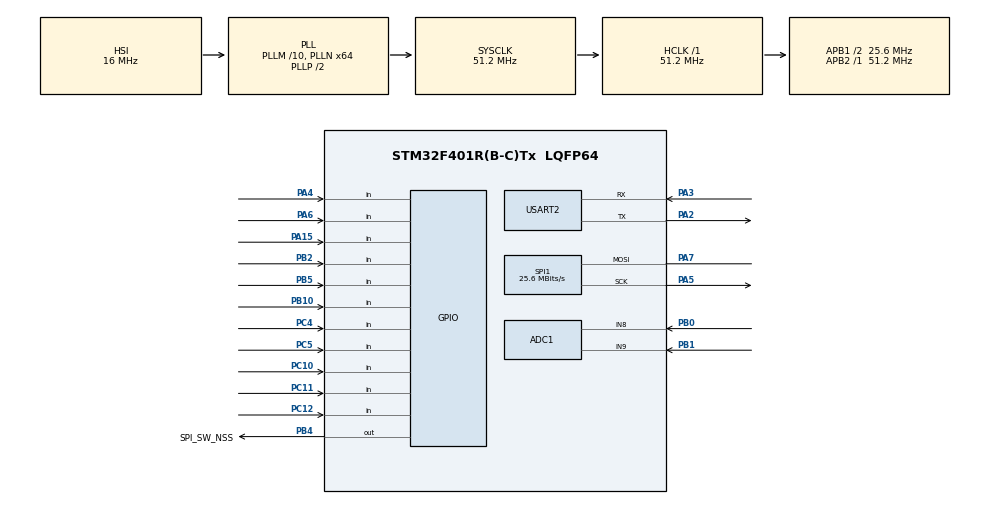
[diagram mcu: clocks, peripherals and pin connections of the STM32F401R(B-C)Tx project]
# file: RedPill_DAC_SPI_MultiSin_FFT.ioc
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ADC1.Channel-1\#ChannelRegularConversion=ADC_CHANNEL_8
ADC1.Channel-2\#ChannelRegularConversion=ADC_CHANNEL_9
ADC1.ClockPrescaler=ADC_CLOCK_SYNC_PCLK_DIV4
ADC1.ExternalTrigConv=ADC_EXTERNALTRIGCONV_T3_TRGO
ADC1.NbrOfConversion=2
ADC1.NbrOfConversionFlag=1
ADC1.Rank-1\#ChannelRegularConversion=1
ADC1.Rank-2\#ChannelRegularConversion=2
ADC1.SamplingTime-1\#ChannelRegularConversion=ADC_SAMPLETIME_15CYCLES
ADC1.SamplingTime-2\#ChannelRegularConversion=ADC_SAMPLETIME_15CYCLES
ADC1.ScanConvMode=ENABLE
ADC1.master=1
Dma.ADC1.0.Direction=DMA_PERIPH_TO_MEMORY
Dma.ADC1.0.FIFOMode=DMA_FIFOMODE_DISABLE
Dma.ADC1.0.Instance=DMA2_Stream4
Dma.ADC1.0.MemDataAlignment=DMA_MDATAALIGN_WORD
Dma.ADC1.0.MemInc=DMA_MINC_ENABLE
Dma.ADC1.0.Mode=DMA_CIRCULAR
Dma.ADC1.0.PeriphDataAlignment=DMA_PDATAALIGN_WORD
Dma.ADC1.0.PeriphInc=DMA_PINC_DISABLE
Dma.ADC1.0.Priority=DMA_PRIORITY_HIGH
Dma.Request0=ADC1
Mcu.Family=STM32F4
Mcu.Name=STM32F401R(B-C)Tx
Mcu.Package=LQFP64
NVIC.ADC_IRQn=true\:2\:0\:true\:false\:true\:true\:true\:true
NVIC.DMA2_Stream4_IRQn=true\:2\:0\:true\:false\:true\:false\:true\:true
NVIC.PriorityGroup=NVIC_PRIORITYGROUP_4
NVIC.SPI1_IRQn=true\:3\:0\:true\:false\:true\:true\:true\:true
NVIC.TIM2_IRQn=true\:4\:0\:true\:false\:true\:true\:true\:true
PA13.Mode=Serial_Wire
PA13.Signal=SYS_JTMS-SWDIO
PA14.Mode=Serial_Wire
PA14.Signal=SYS_JTCK-SWCLK
PA15.GPIO_PuPd=GPIO_NOPULL
PA15.Signal=GPIO_Input
PA2.Mode=Asynchronous
PA2.Signal=USART2_TX
PA3.Mode=Asynchronous
PA3.Signal=USART2_RX
PA4.Signal=GPIO_Input
PA5.Mode=Simplex_Bidirectional_Master
PA5.Signal=SPI1_SCK
PA6.Signal=GPIO_Input
PA7.Mode=Simplex_Bidirectional_Master
PA7.Signal=SPI1_MOSI
PB0.Signal=ADCx_IN8
PB1.Signal=ADCx_IN9
PB10.Signal=GPIO_Input
PB2.Signal=GPIO_Input
PB4.GPIO_Label=SPI_SW_NSS
PB4.GPIO_Speed=GPIO_SPEED_FREQ_LOW
PB4.Signal=GPIO_Output
PB5.Signal=GPIO_Input
PC10.GPIO_PuPd=GPIO_NOPULL
PC10.Signal=GPIO_Input
PC11.Signal=GPIO_Input
PC12.Signal=GPIO_Input
PC4.Signal=GPIO_Input
PC5.Signal=GPIO_Input
PH0\ -\ OSC_IN.Mode=HSE-External-Oscillator
PH0\ -\ OSC_IN.Signal=RCC_OSC_IN
PH1\ -\ OSC_OUT.Mode=HSE-External-Oscillator
PH1\ -\ OSC_OUT.Signal=RCC_OSC_OUT
ProjectManager.HeapSize=0x200
ProjectManager.StackSize=0x400
ProjectManager.TargetToolchain=EWARM V8.50
RCC.48MHZClocksFreq_Value=25600000
RCC.AHBFreq_Value=51200000
RCC.APB1CLKDivider=RCC_HCLK_DIV2
RCC.APB1Freq_Value=25600000
RCC.APB1TimFreq_Value=51200000
RCC.APB2Freq_Value=51200000
RCC.APB2TimFreq_Value=51200000
RCC.CortexFreq_Value=51200000
RCC.HCLKFreq_Value=51200000
RCC.HSE_VALUE=16000000
RCC.HSI_VALUE=16000000
RCC.LSE_VALUE=32768
RCC.PLLM=10
RCC.PLLN=64
RCC.SYSCLKFreq_VALUE=51200000
RCC.SYSCLKSource=RCC_SYSCLKSOURCE_PLLCLK
RCC.VCOOutputFreq_Value=102400000
SH.ADCx_IN8.0=ADC1_IN8,IN8
SH.ADCx_IN9.0=ADC1_IN9,IN9
SPI1.BaudRatePrescaler=SPI_BAUDRATEPRESCALER_2
SPI1.CLKPolarity=SPI_POLARITY_HIGH
SPI1.CalculateBaudRate=25.6 MBits/s
SPI1.DataSize=SPI_DATASIZE_8BIT
SPI1.Direction=SPI_DIRECTION_1LINE
SPI1.Mode=SPI_MODE_MASTER
SPI1.TIMode=SPI_TIMODE_DISABLE
SPI1.VirtualType=VM_MASTER
STMicroelectronics.X-CUBE-ALGOBUILD.1.3.0.LibraryCcDSPOoLibraryJjDSPOoLibrary=true
TIM2.Period=39
TIM2.Prescaler=83
TIM3.ClockDivision=TIM_CLOCKDIVISION_DIV1
TIM3.Period=999
TIM3.Prescaler=83
TIM3.TIM_MasterOutputTrigger=TIM_TRGO_UPDATE
USART2.VirtualMode=VM_ASYNC
VP_STMicroelectronics.X-CUBE-ALGOBUILD_VS_DSPOoLibraryJjLibrary_1.3.0_1.3.0.Mode=DSPOoLibraryJjLibrary
VP_TIM2_VS_ClockSourceINT.Mode=Internal
VP_TIM3_VS_ClockSourceINT.Mode=Internal
board=custom

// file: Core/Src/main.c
/* USER CODE BEGIN Header */
/**
  ******************************************************************************
  * @file           : main.c
  * @brief          : Main program body
  ******************************************************************************
  * @attention
  *
  * Copyright (c) 2024 STMicroelectronics.
  * All rights reserved.
  *
  * This software is licensed under terms that can be found in the LICENSE file
  * in the root directory of this software component.
  * If no LICENSE file comes with this software, it is provided AS-IS.
  *
  ******************************************************************************
  */
/* USER CODE END Header */
#include "main.h"

/* USER CODE BEGIN Includes */
#include "stdio.h"
#include "arm_math.h"
/* USER CODE END Includes */

/* USER CODE BEGIN PTD */

typedef struct
{
    GPIO_TypeDef* DacCsPort;
	uint16_t DacCsPin;
	SPI_HandleTypeDef *spi_port;
	uint32_t spi_clock_speed;
} DAC_Handle;

/* USER CODE END PTD */

/* USER CODE BEGIN PD */

/* ADC Defines */
#define VREF            (3.3f)
#define ADC_MAX_RESULT  ((1 << 12)) // 10 bit ADC
#define MCU_CLOCK       (51200000U)

/* FFT Defines */
#define FFT_BUFFER_SIZE             (1024U)  /* This is the max power of 2, to fit in the RAM. The used array can be reduced. */
#define FREQ_COMPONENTS_THRESHOLD   (0.05f)
#define MAX_FREQ_PEAKS              (19U)

/* DAC register defines begin */
#define REG4_DIVGAIN  ((uint8_t)0x04)
#define REG5_RESET    ((uint8_t)0x05)
#define REG8_DAC      ((uint8_t)0x08)
#define REG3_CON      ((uint8_t)0x03)
#define REG2_SYNC     ((uint8_t)0x02)

#define SET5_RESET_1  ((uint8_t)0x0A)
#define SET5_RESET_2  ((uint8_t)0x00)

#define SET3_CON_1    ((uint8_t)0x00)
#define SET3_CON_2    ((uint8_t)0x01)

#define SET2_SYNC_1   ((uint8_t)0x00)
#define SET2_SYNC_2   ((uint8_t)0x00)

#define SET4_GAIN1    ((uint8_t)0x00)
#define SET4_GAIN2    ((uint8_t)0x01)
#define SET4_DIV1     ((uint8_t)0x00)
#define SET4_DIV2     ((uint8_t)0x01)
/* DAC register defines end */

/* DAC config defines begin */
#define NUM_OF_SAMPLES_DAC ((uint16_t)1024)
#define SPI_TIMEOUT        (10u)
/* DAC config defines end */

/* USER CODE END PD */

ADC_HandleTypeDef hadc1;
DMA_HandleTypeDef hdma_adc1;

SPI_HandleTypeDef hspi1;

TIM_HandleTypeDef htim2;
TIM_HandleTypeDef htim3;

UART_HandleTypeDef huart2;

/* USER CODE BEGIN PV */

/* DAC variables */
DAC_Handle dacHandle;

/* Defs to variables, Configuring DAC */
uint8_t dacResetRegData[3] = {REG5_RESET,SET5_RESET_2,SET5_RESET_1}; // Fix
uint8_t dacDivGainRegData[3] = {REG4_DIVGAIN,SET4_DIV2,SET4_GAIN2}; // Can be set
uint8_t dacConfigRefRegData[3] = {REG3_CON,SET3_CON_2,SET3_CON_1}; // Fix
uint8_t dacSyncRegData[3] = {REG2_SYNC,SET2_SYNC_2,SET2_SYNC_1}; // Fix
/* DAC config variables end */

/* Data to send - Multisine: sum(Vi*sin(2pi*f0*i*t)) */
uint8_t sinBuffer[2*NUM_OF_SAMPLES_DAC] = {
#include "dacMultiSine.txt"
};
volatile uint8_t sinBufferTemp[3] = {REG8_DAC,0x00,0x00};
volatile uint16_t sinCounter = 0;
volatile uint8_t sinDataCounter = 0;
/* Signal generation variables end */

/* Measurement variables begin */

// ADC variables
uint8_t ADC_FLAG_STATE_FSM = 0;

// FFT variables
arm_rfft_fast_instance_f32 fftHandler;
uint32_t fftBuffIn[FFT_BUFFER_SIZE*2];
float32_t fftBuffInVoltsSig[FFT_BUFFER_SIZE];
float32_t fftBuffInVoltsRef[FFT_BUFFER_SIZE];
float32_t fftBuffInVoltsImp[FFT_BUFFER_SIZE];
float32_t fftBuffOutRef[FFT_BUFFER_SIZE];
float32_t fftBuffOutImp[FFT_BUFFER_SIZE];
float32_t fftBuffOutSig[FFT_BUFFER_SIZE];
float32_t fftBuffOutZpN[FFT_BUFFER_SIZE];
float32_t fftBuffAbsRef[FFT_BUFFER_SIZE/2];
float32_t fftBuffAbsImp[FFT_BUFFER_SIZE/2];
float32_t fftBuffAbsSig[FFT_BUFFER_SIZE/2];
float32_t fftBuffAbsZpN[FFT_BUFFER_SIZE/2];

uint16_t freqIndex = 0;

/* Collecting the peaks in an array */
uint16_t freqPeakIndeces[MAX_FREQ_PEAKS] = {0x00,0x00,0x00,0x00,0x00};
float32_t freqPeaks[MAX_FREQ_PEAKS] = {0.0f,0.0f,0.0f,0.0f,0.0f};

uint32_t SAMPLING_FREQ = 0; // --> Should be set properly, according to the CubeMX settings!!!

/* Measurement variables end */

/* Config variables begin */
uint8_t send_serial = 1; // send on serial or not
volatile uint8_t  send_data = 0;
uint16_t data_ind = 0; // instead of i in main for loop, to live watch
/* Config variables end */

/* USER CODE END PV */

void SystemClock_Config(void);
static void MX_GPIO_Init(void);
static void MX_DMA_Init(void);
static void MX_SPI1_Init(void);
static void MX_ADC1_Init(void);
static void MX_TIM3_Init(void);
static void MX_TIM2_Init(void);
static void MX_USART2_UART_Init(void);
/* USER CODE BEGIN PFP */

void dacBegin(DAC_Handle *dac, SPI_HandleTypeDef *port, GPIO_TypeDef* cs_port, uint16_t cs_pin, uint32_t cspeed);
void writeREG(DAC_Handle *dac, uint8_t *command);
void writeDAC(DAC_Handle *dac, uint8_t *data);
void setClockSpeed(DAC_Handle *dac, uint32_t cspeed);

/* USER CODE END PFP */

/* USER CODE BEGIN 0 */

/* Redirect printf to UASRT2, redefine __write */
size_t __write_own(int handle, const unsigned char * buffer, size_t size)
{
  size_t nChars = 0;

  if (buffer == 0)
  {
    /*
     * This means that we should flush internal buffers.  Since we
     * don't we just return.  (Remember, "handle" == -1 means that all
     * handles should be flushed.)
     */
    return 0;
  }

  for (/* Empty */; size != 0; --size)
  {
    HAL_UART_Transmit(&huart2, (uint8_t*) (buffer), 1, HAL_MAX_DELAY);
    buffer++;
    ++nChars;
  }

  return nChars;

}

/* DAC handling functions begin*/
void dacBegin(DAC_Handle *dac, SPI_HandleTypeDef *port, GPIO_TypeDef* cs_port, uint16_t cs_pin, uint32_t cspeed)
{
  dac->DacCsPort = cs_port;
  dac->DacCsPin = cs_pin;
  dac->spi_port = port;
  dac->spi_clock_speed = cspeed;
}

void setClockSpeed(DAC_Handle *dac, uint32_t cspeed)
{
	dac->spi_clock_speed = cspeed;
}

void writeREG(DAC_Handle *dac, uint8_t* command)
{
	HAL_GPIO_WritePin(dac->DacCsPort, dac->DacCsPin, GPIO_PIN_SET); //SW NSS
        HAL_Delay(1);
  	HAL_GPIO_WritePin(dac->DacCsPort, dac->DacCsPin, GPIO_PIN_RESET); //SW NSS
  	while(HAL_SPI_GetState(dac->spi_port) != HAL_SPI_STATE_READY){}
  	HAL_SPI_Transmit(dac->spi_port, (uint8_t*) (command), 3, SPI_TIMEOUT);
        HAL_Delay(1);
  	HAL_GPIO_WritePin(dac->DacCsPort, dac->DacCsPin, GPIO_PIN_SET); //SW NSS
}

void writeDAC(DAC_Handle *dac, uint8_t* data)
{
	while(HAL_SPI_GetState(dac->spi_port) != HAL_SPI_STATE_READY){}
        HAL_GPIO_WritePin(dac->DacCsPort, dac->DacCsPin, GPIO_PIN_RESET); //SW NSS
        HAL_SPI_Transmit(dac->spi_port, (uint8_t*) (data), 3, SPI_TIMEOUT);
        HAL_GPIO_WritePin(dac->DacCsPort, dac->DacCsPin, GPIO_PIN_SET); //SW NSS

}
/* DAC handling functions end*/

/* ADC conversion to Volts */
float32_t ADC_convertSampleToVolts(uint16_t sample) {
	// The measured voltage applied to P1.7 is given by:
	//
	//                           Vref (mV)
	//   measurement (mV) =   --------------- * result (bits)
	//                       (2^12) (bits)
	return ((float32_t) sample * VREF) / ADC_MAX_RESULT;
}

/* USER CODE END 0 */

int main(void)
{

  /* MCU Configuration--------------------------------------------------------*/

  /* Reset of all peripherals, Initializes the Flash interface and the Systick. */
  HAL_Init();

  /* Configure the system clock */
  SystemClock_Config();

  /* Initialize all configured peripherals */
  MX_GPIO_Init();
  MX_DMA_Init();
  MX_SPI1_Init();
  MX_ADC1_Init();
  MX_TIM3_Init();
  MX_TIM2_Init();
  MX_USART2_UART_Init();
  /* USER CODE BEGIN 2 */

  /* Calculate the sampling freq from registers and oscillator freq */
  SAMPLING_FREQ = ((uint32_t)MCU_CLOCK)/((htim3.Init.Prescaler+1)*(htim3.Init.Period+1)); // 1 kHz sampling freq is too high for this settings

  /* Initializing DAC */
  dacBegin(&dacHandle, &hspi1, SPI_SW_NSS_GPIO_Port, SPI_SW_NSS_Pin,(uint32_t)500000); // 16 Mhz Oscillator - 8 Mhz CLK - 16 SPI prescaler = 500 kHz

  // setREG5_Reset, Soft Reset
  writeREG(&dacHandle, (uint8_t*)(&dacResetRegData));
  HAL_Delay(100);

  // setREG4_DivGain, DIV = 2, GAIN = 2
  writeREG(&dacHandle, (uint8_t*)(&dacDivGainRegData));
  HAL_Delay(100);

  // setREG3_Internal_Ref_Off
  writeREG(&dacHandle, (uint8_t*)(&dacConfigRefRegData));
  HAL_Delay(100);

  // setREG2_SyncMode_Off
  writeREG(&dacHandle, (uint8_t*)(&dacSyncRegData));
  HAL_Delay(100);

  /* Start TIM2(for DAC sine) and TIM3(for ADC), init FFT vector and start DMA for FFT */
  arm_rfft_fast_init_f32(&fftHandler, FFT_BUFFER_SIZE);
  send_data = 1;

  HAL_TIM_Base_Init(&htim3);
  HAL_TIM_Base_Start(&htim3);
  HAL_ADC_Start_DMA(&hadc1, fftBuffIn, FFT_BUFFER_SIZE*2); // Start DMA for FFT
  /* ADC with DMA must be init and started before TIM2 IT-s, because they interrupt the init method!!!! */
  HAL_TIM_Base_Init(&htim2);
  HAL_TIM_Base_Start_IT(&htim2);

  /* USER CODE END 2 */

  /* Infinite loop */
  while (1)
  {

    /* USER CODE BEGIN 3 */

	/* Processing signals */
	if (ADC_FLAG_STATE_FSM == 1) {
		// Reset state machine
		ADC_FLAG_STATE_FSM = 0;

		/* ADC_IN8 (Rank 1 - 1. in the array) - input signal, ADC_IN9 (Rank 2 - 2. in the array) - Rn signal */

		// Calculate FFT
		for (int i = 0; i < FFT_BUFFER_SIZE; i++) {
			fftBuffInVoltsSig[i] = ADC_convertSampleToVolts((uint16_t) (fftBuffIn[2 * i])); // Rn signal
			fftBuffInVoltsRef[i] = ADC_convertSampleToVolts((uint16_t) (fftBuffIn[2 * i + 1])); // Input signal
			fftBuffInVoltsImp[i] = ADC_convertSampleToVolts((uint16_t) (fftBuffIn[2 * i]-fftBuffIn[2 * i + 1])); // Impedance signal
		}

		/* FFT */
		freqIndex = 0;
		arm_rfft_fast_f32(&fftHandler, fftBuffInVoltsRef, fftBuffOutRef, 0);
		arm_rfft_fast_f32(&fftHandler, fftBuffInVoltsImp, fftBuffOutImp, 0);
		arm_rfft_fast_f32(&fftHandler, fftBuffInVoltsSig, fftBuffOutSig, 0);

		/* Calculating spectres first component */
		for (uint16_t i = 0; i < FFT_BUFFER_SIZE-2; i+=2){

			fftBuffAbsSig[freqIndex] = (float32_t)(sqrt((double)(fftBuffOutSig[i]*fftBuffOutSig[i])+(double)(fftBuffOutSig[i+1]*fftBuffOutSig[i+1]))/FFT_BUFFER_SIZE*2); // Calculating the amplitude characteristics
			fftBuffAbsRef[freqIndex] = (float32_t)(sqrt((double)(fftBuffOutRef[i]*fftBuffOutRef[i])+(double)(fftBuffOutRef[i+1]*fftBuffOutRef[i+1]))/FFT_BUFFER_SIZE*2); // Calculating the amplitude characteristics
			fftBuffAbsImp[freqIndex] = (float32_t)(sqrt((double)(fftBuffOutImp[i]*fftBuffOutImp[i])+(double)(fftBuffOutImp[i+1]*fftBuffOutImp[i+1]))/FFT_BUFFER_SIZE*2); // Calculating the amplitude characteristics
			fftBuffOutZpN[i] = ((fftBuffOutImp[i]*fftBuffOutRef[i])+(fftBuffOutImp[i+1]*fftBuffOutRef[i+1]))/((fftBuffOutRef[i]*fftBuffOutRef[i])+(fftBuffOutRef[i+1]*fftBuffOutRef[i+1]));
			fftBuffOutZpN[i+1] = ((fftBuffOutRef[i]*fftBuffOutImp[i+1])-(fftBuffOutImp[i]*fftBuffOutRef[i+1]))/((fftBuffOutRef[i]*fftBuffOutRef[i])+(fftBuffOutRef[i+1]*fftBuffOutRef[i+1]));
			fftBuffAbsZpN[freqIndex] = (float32_t)(sqrt((double)(fftBuffOutZpN[i]*fftBuffOutZpN[i])+(double)(fftBuffOutZpN[i+1]*fftBuffOutZpN[i+1]))/FFT_BUFFER_SIZE*2);

			freqIndex++;
		}
		fftBuffAbsRef[0] = fftBuffAbsRef[0]/2; // For the single sided FFT, but we do not need it.
		fftBuffAbsImp[0] = fftBuffAbsImp[0]/2;
		fftBuffAbsSig[0] = fftBuffAbsSig[0]/2;
                fftBuffAbsZpN[0] = fftBuffAbsZpN[0]/2;

                /*
                // Printing out the absolute spectres
		for (uint16_t i = 0; i < FFT_BUFFER_SIZE/2; i++){
			printf("%.5f,%.5f,%.5f,%.5f\r\n",fftBuffAbsSig[i],fftBuffAbsImp[i],fftBuffAbsRef[i],fftBuffAbsZpN[i]);
		}

                // Printing out the complex spectres
		for (uint16_t i = 0; i < FFT_BUFFER_SIZE-2; i+=2){
			printf("%.5f,%.5f,%.5f,%.5f,%.5f,%.5f,%.5f,%.5f\r\n",fftBuffOutSig[i],fftBuffOutSig[i+1],fftBuffOutImp[i],fftBuffOutImp[i+1],fftBuffOutRef[i],fftBuffOutRef[i+1],fftBuffOutZpN[i],fftBuffOutZpN[i+1]);
		}
                */

                for (int i = 0; i < MAX_FREQ_PEAKS; i++) {
                    freqPeaks[i] = 0.0f;
                    freqPeakIndeces[i] = 0xFFFF;
                }

                // Iterate through the original array
                for (int i = 1; i < FFT_BUFFER_SIZE/2; i++) {
                    // Check if the current element is larger than the smallest in the largest array
                    for (int j = 0; j < MAX_FREQ_PEAKS; j++) {
                        if (fftBuffAbsSig[i] > freqPeaks[j]) {
                            // Shift the rest of the array and the indices array
                            for (int k = MAX_FREQ_PEAKS - 1; k > j; k--) {
                                freqPeaks[k] = freqPeaks[k - 1];
                                freqPeakIndeces[k] = freqPeakIndeces[k - 1];
                            }
                            // Insert the new element and its index
                            freqPeaks[j] = fftBuffAbsSig[i];
                            freqPeakIndeces[j] = i;
                            break;
                        }
                    }
                }

                // Printing out the complex spectres
		for (uint16_t i = 0; i < FFT_BUFFER_SIZE-2; i+=2){
			printf("%.5f,%.5f,%.5f,%.5f,%.5f,%.5f,%.5f,%.5f\r\n",fftBuffOutSig[i],fftBuffOutSig[i+1],fftBuffOutImp[i],fftBuffOutImp[i+1],fftBuffOutRef[i],fftBuffOutRef[i+1],fftBuffOutZpN[i],fftBuffOutZpN[i+1]);
		}

                /* Printing out the impeadance value at the peak indeces  */
                for (uint8_t i = 0; i < MAX_FREQ_PEAKS; i++){
			printf("%d,%.5f,%.5f,%.5f\r\n",freqPeakIndeces[i],fftBuffOutZpN[2*freqPeakIndeces[i]],fftBuffOutZpN[2*freqPeakIndeces[i]+1],fftBuffAbsZpN[freqPeakIndeces[i]]);
		}

		HAL_ADC_Start_DMA(&hadc1, fftBuffIn, FFT_BUFFER_SIZE*2); // Start DMA for FFT
		__enable_irq();

	}

  }
  /* USER CODE END 3 */
}

void SystemClock_Config(void)
{
  RCC_OscInitTypeDef RCC_OscInitStruct = {0};
  RCC_ClkInitTypeDef RCC_ClkInitStruct = {0};

  /** Configure the main internal regulator output voltage
  */
  __HAL_RCC_PWR_CLK_ENABLE();
  __HAL_PWR_VOLTAGESCALING_CONFIG(PWR_REGULATOR_VOLTAGE_SCALE2);

  /** Initializes the RCC Oscillators according to the specified parameters
  * in the RCC_OscInitTypeDef structure.
  */
  RCC_OscInitStruct.OscillatorType = RCC_OSCILLATORTYPE_HSI;
  RCC_OscInitStruct.HSIState = RCC_HSI_ON;
  RCC_OscInitStruct.HSICalibrationValue = RCC_HSICALIBRATION_DEFAULT;
  RCC_OscInitStruct.PLL.PLLState = RCC_PLL_ON;
  RCC_OscInitStruct.PLL.PLLSource = RCC_PLLSOURCE_HSI;
  RCC_OscInitStruct.PLL.PLLM = 10;
  RCC_OscInitStruct.PLL.PLLN = 64;
  RCC_OscInitStruct.PLL.PLLP = RCC_PLLP_DIV2;
  RCC_OscInitStruct.PLL.PLLQ = 4;
  if (HAL_RCC_OscConfig(&RCC_OscInitStruct) != HAL_OK)
  {
    Error_Handler();
  }

  /** Initializes the CPU, AHB and APB buses clocks
  */
  RCC_ClkInitStruct.ClockType = RCC_CLOCKTYPE_HCLK|RCC_CLOCKTYPE_SYSCLK
                              |RCC_CLOCKTYPE_PCLK1|RCC_CLOCKTYPE_PCLK2;
  RCC_ClkInitStruct.SYSCLKSource = RCC_SYSCLKSOURCE_PLLCLK;
  RCC_ClkInitStruct.AHBCLKDivider = RCC_SYSCLK_DIV1;
  RCC_ClkInitStruct.APB1CLKDivider = RCC_HCLK_DIV2;
  RCC_ClkInitStruct.APB2CLKDivider = RCC_HCLK_DIV1;

  if (HAL_RCC_ClockConfig(&RCC_ClkInitStruct, FLASH_LATENCY_1) != HAL_OK)
  {
    Error_Handler();
  }
}

static void MX_ADC1_Init(void)
{

  ADC_ChannelConfTypeDef sConfig = {0};

  /** Configure the global features of the ADC (Clock, Resolution, Data Alignment and number of conversion)
  */
  hadc1.Instance = ADC1;
  hadc1.Init.ClockPrescaler = ADC_CLOCK_SYNC_PCLK_DIV4;
  hadc1.Init.Resolution = ADC_RESOLUTION_12B;
  hadc1.Init.ScanConvMode = ENABLE;
  hadc1.Init.ContinuousConvMode = DISABLE;
  hadc1.Init.DiscontinuousConvMode = DISABLE;
  hadc1.Init.ExternalTrigConvEdge = ADC_EXTERNALTRIGCONVEDGE_RISING;
  hadc1.Init.ExternalTrigConv = ADC_EXTERNALTRIGCONV_T3_TRGO;
  hadc1.Init.DataAlign = ADC_DATAALIGN_RIGHT;
  hadc1.Init.NbrOfConversion = 2;
  hadc1.Init.DMAContinuousRequests = DISABLE;
  hadc1.Init.EOCSelection = ADC_EOC_SINGLE_CONV;
  if (HAL_ADC_Init(&hadc1) != HAL_OK)
  {
    Error_Handler();
  }

  /** Configure for the selected ADC regular channel its corresponding rank in the sequencer and its sample time.
  */
  sConfig.Channel = ADC_CHANNEL_8;
  sConfig.Rank = 1;
  sConfig.SamplingTime = ADC_SAMPLETIME_15CYCLES;
  if (HAL_ADC_ConfigChannel(&hadc1, &sConfig) != HAL_OK)
  {
    Error_Handler();
  }

  /** Configure for the selected ADC regular channel its corresponding rank in the sequencer and its sample time.
  */
  sConfig.Channel = ADC_CHANNEL_9;
  sConfig.Rank = 2;
  if (HAL_ADC_ConfigChannel(&hadc1, &sConfig) != HAL_OK)
  {
    Error_Handler();
  }

}

static void MX_SPI1_Init(void)
{

  /* SPI1 parameter configuration*/
  hspi1.Instance = SPI1;
  hspi1.Init.Mode = SPI_MODE_MASTER;
  hspi1.Init.Direction = SPI_DIRECTION_1LINE;
  hspi1.Init.DataSize = SPI_DATASIZE_8BIT;
  hspi1.Init.CLKPolarity = SPI_POLARITY_HIGH;
  hspi1.Init.CLKPhase = SPI_PHASE_1EDGE;
  hspi1.Init.NSS = SPI_NSS_SOFT;
  hspi1.Init.BaudRatePrescaler = SPI_BAUDRATEPRESCALER_2;
  hspi1.Init.FirstBit = SPI_FIRSTBIT_MSB;
  hspi1.Init.TIMode = SPI_TIMODE_DISABLE;
  hspi1.Init.CRCCalculation = SPI_CRCCALCULATION_DISABLE;
  hspi1.Init.CRCPolynomial = 10;
  if (HAL_SPI_Init(&hspi1) != HAL_OK)
  {
    Error_Handler();
  }

}

static void MX_TIM2_Init(void)
{

  TIM_ClockConfigTypeDef sClockSourceConfig = {0};
  TIM_MasterConfigTypeDef sMasterConfig = {0};

  htim2.Instance = TIM2;
  htim2.Init.Prescaler = 499;
  htim2.Init.CounterMode = TIM_COUNTERMODE_UP;
  htim2.Init.Period = 99;
  htim2.Init.ClockDivision = TIM_CLOCKDIVISION_DIV1;
  htim2.Init.AutoReloadPreload = TIM_AUTORELOAD_PRELOAD_DISABLE;
  if (HAL_TIM_Base_Init(&htim2) != HAL_OK)
  {
    Error_Handler();
  }
  sClockSourceConfig.ClockSource = TIM_CLOCKSOURCE_INTERNAL;
  if (HAL_TIM_ConfigClockSource(&htim2, &sClockSourceConfig) != HAL_OK)
  {
    Error_Handler();
  }
  sMasterConfig.MasterOutputTrigger = TIM_TRGO_RESET;
  sMasterConfig.MasterSlaveMode = TIM_MASTERSLAVEMODE_DISABLE;
  if (HAL_TIMEx_MasterConfigSynchronization(&htim2, &sMasterConfig) != HAL_OK)
  {
    Error_Handler();
  }

}

static void MX_TIM3_Init(void)
{

  TIM_ClockConfigTypeDef sClockSourceConfig = {0};
  TIM_MasterConfigTypeDef sMasterConfig = {0};

  htim3.Instance = TIM3;
  htim3.Init.Prescaler = 499;
  htim3.Init.CounterMode = TIM_COUNTERMODE_UP;
  htim3.Init.Period = 49;
  htim3.Init.ClockDivision = TIM_CLOCKDIVISION_DIV1;
  htim3.Init.AutoReloadPreload = TIM_AUTORELOAD_PRELOAD_DISABLE;
  if (HAL_TIM_Base_Init(&htim3) != HAL_OK)
  {
    Error_Handler();
  }
  sClockSourceConfig.ClockSource = TIM_CLOCKSOURCE_INTERNAL;
  if (HAL_TIM_ConfigClockSource(&htim3, &sClockSourceConfig) != HAL_OK)
  {
    Error_Handler();
  }
  sMasterConfig.MasterOutputTrigger = TIM_TRGO_UPDATE;
  sMasterConfig.MasterSlaveMode = TIM_MASTERSLAVEMODE_DISABLE;
  if (HAL_TIMEx_MasterConfigSynchronization(&htim3, &sMasterConfig) != HAL_OK)
  {
    Error_Handler();
  }

}

static void MX_USART2_UART_Init(void)
{

  huart2.Instance = USART2;
  huart2.Init.BaudRate = 115200;
  huart2.Init.WordLength = UART_WORDLENGTH_8B;
  huart2.Init.StopBits = UART_STOPBITS_1;
  huart2.Init.Parity = UART_PARITY_NONE;
  huart2.Init.Mode = UART_MODE_TX_RX;
  huart2.Init.HwFlowCtl = UART_HWCONTROL_NONE;
  huart2.Init.OverSampling = UART_OVERSAMPLING_16;
  if (HAL_UART_Init(&huart2) != HAL_OK)
  {
    Error_Handler();
  }

}

static void MX_DMA_Init(void)
{

  /* DMA controller clock enable */
  __HAL_RCC_DMA2_CLK_ENABLE();

  /* DMA interrupt init */
  /* DMA2_Stream4_IRQn interrupt configuration */
  HAL_NVIC_SetPriority(DMA2_Stream4_IRQn, 2, 0);
  HAL_NVIC_EnableIRQ(DMA2_Stream4_IRQn);

}

static void MX_GPIO_Init(void)
{
  GPIO_InitTypeDef GPIO_InitStruct = {0};

  /* GPIO Ports Clock Enable */
  __HAL_RCC_GPIOH_CLK_ENABLE();
  __HAL_RCC_GPIOA_CLK_ENABLE();
  __HAL_RCC_GPIOC_CLK_ENABLE();
  __HAL_RCC_GPIOB_CLK_ENABLE();

  /*Configure GPIO pin Output Level */
  HAL_GPIO_WritePin(SPI_SW_NSS_GPIO_Port, SPI_SW_NSS_Pin, GPIO_PIN_RESET);

  /*Configure GPIO pins : PA4 PA6 PA15 */
  GPIO_InitStruct.Pin = GPIO_PIN_4|GPIO_PIN_6|GPIO_PIN_15;
  GPIO_InitStruct.Mode = GPIO_MODE_INPUT;
  GPIO_InitStruct.Pull = GPIO_NOPULL;
  HAL_GPIO_Init(GPIOA, &GPIO_InitStruct);

  /*Configure GPIO pins : PC4 PC5 PC10 PC11
                           PC12 */
  GPIO_InitStruct.Pin = GPIO_PIN_4|GPIO_PIN_5|GPIO_PIN_10|GPIO_PIN_11
                          |GPIO_PIN_12;
  GPIO_InitStruct.Mode = GPIO_MODE_INPUT;
  GPIO_InitStruct.Pull = GPIO_NOPULL;
  HAL_GPIO_Init(GPIOC, &GPIO_InitStruct);

  /*Configure GPIO pins : PB2 PB10 PB5 */
  GPIO_InitStruct.Pin = GPIO_PIN_2|GPIO_PIN_10|GPIO_PIN_5;
  GPIO_InitStruct.Mode = GPIO_MODE_INPUT;
  GPIO_InitStruct.Pull = GPIO_NOPULL;
  HAL_GPIO_Init(GPIOB, &GPIO_InitStruct);

  /*Configure GPIO pin : SPI_SW_NSS_Pin */
  GPIO_InitStruct.Pin = SPI_SW_NSS_Pin;
  GPIO_InitStruct.Mode = GPIO_MODE_OUTPUT_PP;
  GPIO_InitStruct.Pull = GPIO_NOPULL;
  GPIO_InitStruct.Speed = GPIO_SPEED_FREQ_LOW;
  HAL_GPIO_Init(SPI_SW_NSS_GPIO_Port, &GPIO_InitStruct);

}

/* USER CODE BEGIN 4 */

void HAL_ADC_ConvCpltCallback(ADC_HandleTypeDef *hadc) {
	__disable_irq();
	HAL_ADC_Stop_DMA(hadc);
	ADC_FLAG_STATE_FSM = 1;
}

/* USER CODE END 4 */

void Error_Handler(void)
{
  __disable_irq();
  while (1)
  {
  }
}
